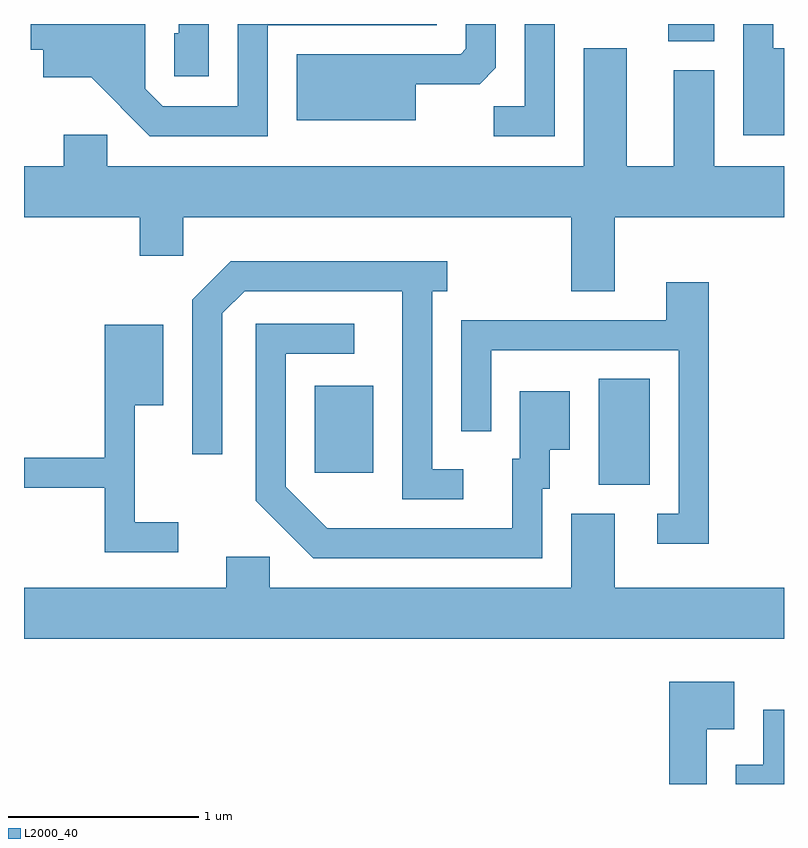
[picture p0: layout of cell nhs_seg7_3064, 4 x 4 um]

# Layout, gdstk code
import gdstk
lib = gdstk.Library(unit=1e-6, precision=1e-09)
def R(c, l, rs):  # rectangles x0, y0, x1, y1
    for r in rs: c.add(gdstk.rectangle(r[:2], r[2:], *l))
def P(c, l, *ps):  # polygons
    for p in ps: c.add(gdstk.Polygon(p, *l))
L2000_40 = (2000, 40)

nhs_seg7_3064 = lib.new_cell('nhs_seg7_3064')
R(nhs_seg7_3064, L2000_40, [(282.636,1681.826,282.904,1682.384), (281.141,1681.891,281.449,1682.349), (283.001,1684.161,283.244,1684.252)])
P(nhs_seg7_3064, L2000_40, [(280.894,1684.246),(281.784,1684.246),(281.784,1684.252),(280.736,1684.252),(280.736,1683.819),(280.342,1683.819),(280.249,1683.912),(280.249,1684.252),(279.646,1684.252),(279.646,1684.116),(279.711,1684.116),(279.711,1683.971),(279.964,1683.971),(280.274,1683.661),(280.894,1683.661)],
  [(280.584,1684.252),(280.426,1684.252),(280.426,1684.204),(280.401,1684.204),(280.401,1683.976),(280.584,1683.976)],
  [(283.611,1684.124),(283.554,1684.124),(283.554,1684.252),(283.396,1684.252),(283.396,1683.666),(283.611,1683.666)],
  [(281.674,1683.936),(282.009,1683.936),(282.094,1684.022),(282.094,1684.252),(281.936,1684.252),(281.936,1684.122),(281.909,1684.094),(281.046,1684.094),(281.046,1683.746),(281.674,1683.746)],
  [(282.404,1684.252),(282.246,1684.252),(282.246,1683.819),(282.083,1683.819),(282.083,1683.661),(282.404,1683.661)],
  [(282.719,1683.236),(283.611,1683.236),(283.611,1683.504),(283.244,1683.504),(283.244,1684.009),(283.031,1684.009),(283.031,1683.504),(282.784,1683.504),(282.784,1684.124),(282.556,1684.124),(282.556,1683.504),(280.049,1683.504),(280.049,1683.669),(279.821,1683.669),(279.821,1683.504),(279.611,1683.504),(279.611,1683.236),(280.221,1683.236),(280.221,1683.031),(280.449,1683.031),(280.449,1683.236),(282.491,1683.236),(282.491,1682.846),(282.719,1682.846)],
  [(281.923,1681.909),(281.759,1681.909),(281.759,1682.846),(281.838,1682.846),(281.838,1683.004),(280.699,1683.004),(280.496,1682.802),(280.496,1681.988),(280.654,1681.988),(280.654,1682.729),(280.772,1682.846),(281.601,1682.846),(281.601,1681.751),(281.923,1681.751)],
  [(283.214,1682.894),(282.991,1682.894),(282.991,1682.694),(281.911,1682.694),(281.911,1682.108),(282.069,1682.108),(282.069,1682.536),(283.056,1682.536),(283.056,1681.674),(282.943,1681.674),(282.943,1681.516),(283.214,1681.516)],
  [(282.339,1681.806),(282.379,1681.806),(282.379,1682.011),(282.484,1682.011),(282.484,1682.319),(282.221,1682.319),(282.221,1681.964),(282.181,1681.964),(282.181,1681.599),(281.207,1681.599),(280.989,1681.817),(280.989,1682.516),(281.348,1682.516),(281.348,1682.674),(280.831,1682.674),(280.831,1681.744),(281.134,1681.441),(282.339,1681.441)],
  [(280.423,1681.629),(280.194,1681.629),(280.194,1682.246),(280.344,1682.246),(280.344,1682.669),(280.036,1682.669),(280.036,1681.969),(279.611,1681.969),(279.611,1681.811),(280.036,1681.811),(280.036,1681.471),(280.423,1681.471)],
  [(283.611,1681.284),(282.719,1681.284),(282.719,1681.674),(282.491,1681.674),(282.491,1681.284),(280.904,1681.284),(280.904,1681.449),(280.676,1681.449),(280.676,1681.284),(279.611,1681.284),(279.611,1681.016),(283.611,1681.016)],
  [(283.204,1680.541),(283.349,1680.541),(283.349,1680.789),(283.006,1680.789),(283.006,1680.252),(283.204,1680.252)],
  [(283.611,1680.644),(283.501,1680.644),(283.501,1680.354),(283.356,1680.354),(283.356,1680.252),(283.611,1680.252)])

lib.write_gds('nhs_seg7_3064.gds')
